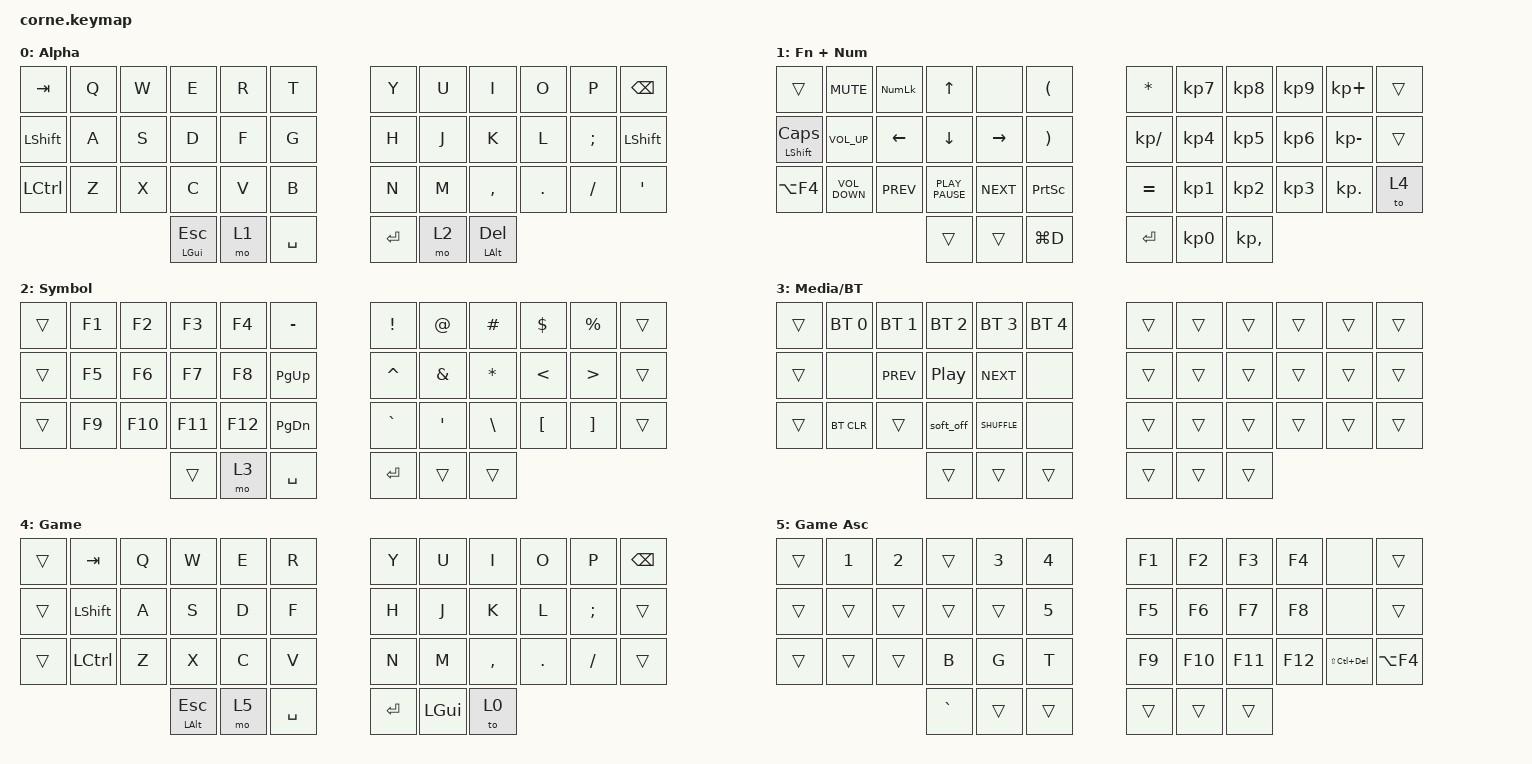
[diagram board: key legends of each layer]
/*
 * Copyright (c) 2020 The ZMK Contributors
 *
 * SPDX-License-Identifier: MIT
 */

#include <behaviors.dtsi>
#include <dt-bindings/zmk/bt.h>
#include <dt-bindings/zmk/keys.h>

&mt {
    tapping-term-ms = <180>;
    flavor = "hold-preferred";
};

&lt {
    tapping-term-ms = <220>;
    flavor = "tap-preferred";
    quick-tap-ms = <150>;
};

/ {
    keymap {
        compatible = "zmk,keymap";

        default_layer {
            // -----------------------------------------------------------------------------------------
            // |  TAB |  Q  |  W  |  E  |  R  |  T  |   |  Y  |  U   |  I  |  O  |  P  | BKSP |
            // | SHFT |  A  |  S  |  D  |  F  |  G  |   |  H  |  J   |  K  |  L  |  ;  | SHFT |
            // | CTRL |  Z  |  X  |  C  |  V  |  B  |   |  N  |  M   |  ,  |  .  |  /  | DEL  |
            //                    | ESC | LWR | SPC |   | ENT | RSE  | GUI |

            label = "Alpha";
            bindings = <
&kp TAB           &kp Q  &kp W  &kp E            &kp R  &kp T        &kp Y    &kp U  &kp I             &kp O    &kp P      &kp BACKSPACE
&kp LSHFT         &kp A  &kp S  &kp D            &kp F  &kp G        &kp H    &kp J  &kp K             &kp L    &kp SEMI   &kp LSHFT
&kp LEFT_CONTROL  &kp Z  &kp X  &kp C            &kp V  &kp B        &kp N    &kp M  &kp COMMA         &kp DOT  &kp SLASH  &kp SINGLE_QUOTE
                                &mt LGUI ESCAPE  &mo 1  &kp SPACE    &kp RET  &mo 2  &mt LEFT_ALT DEL
            >;
        };

        lower_layer {
            // -----------------------------------------------------------------------------------------
            // |  TAB |  1  |  2  |  3  |  4  |  5  |   |  6  |  7  |  8  |  9  |  0  | BKSP |
            // | BTCLR| BT1 | BT2 | BT3 | BT4 | BT5 |   | LFT | DWN |  UP | RGT |     |      |
            // | SHFT |     |     |     |     |     |   |     |     |     |     |     |      |
            //                    | GUI |     | SPC |   | ENT |     | ALT |

            label = "Fn + Num";
            bindings = <
&trans          &kp K_MUTE         &kp KP_NUMLOCK  &kp UP_ARROW      &none       &kp LEFT_PARENTHESIS     &kp ASTERISK   &kp KP_NUMBER_7  &kp KP_NUMBER_8  &kp KP_NUMBER_9  &kp KP_PLUS      &trans
&mt LSHFT CAPS  &kp K_VOLUME_UP    &kp LEFT        &kp DOWN          &kp RIGHT   &kp RIGHT_PARENTHESIS    &kp KP_DIVIDE  &kp KP_NUMBER_4  &kp KP_NUMBER_5  &kp KP_NUMBER_6  &kp KP_SUBTRACT  &trans
&kp LA(F4)      &kp K_VOLUME_DOWN  &kp K_PREV      &kp K_PLAY_PAUSE  &kp K_NEXT  &kp PRINTSCREEN          &kp EQUAL      &kp KP_NUMBER_1  &kp KP_NUMBER_2  &kp KP_NUMBER_3  &kp KP_DOT       &to 4
                                                   &trans            &trans      &kp LG(D)                &kp RET        &kp KP_NUMBER_0  &kp KP_COMMA
            >;
        };

        raise_layer {
            // -----------------------------------------------------------------------------------------
            // |  TAB |  !  |  @  |  #  |  $  |  %  |   |  ^  |  &  |  *  |  (  |  )  | BKSP |
            // | CTRL |     |     |     |     |     |   |  -  |  =  |  [  |  ]  |  \  |  `   |
            // | SHFT |     |     |     |     |     |   |  _  |  +  |  {  |  }  | "|" |  ~   |
            //                    | GUI |     | SPC |   | ENT |     | ALT |

            label = "Symbol";
            bindings = <
&trans  &kp F1  &kp F2   &kp F3   &kp F4   &kp MINUS        &kp EXCL   &kp AT         &kp HASH       &kp DOLLAR        &kp PERCENT        &trans
&trans  &kp F5  &kp F6   &kp F7   &kp F8   &kp PAGE_UP      &kp CARET  &kp AMPERSAND  &kp ASTRK      &kp LESS_THAN     &kp GREATER_THAN   &trans
&trans  &kp F9  &kp F10  &kp F11  &kp F12  &kp PAGE_DOWN    &kp GRAVE  &kp APOS       &kp BACKSLASH  &kp LEFT_BRACKET  &kp RIGHT_BRACKET  &trans
                         &trans   &mo 3    &kp SPACE        &kp RET    &trans         &trans
            >;
        };

        media_bt {
            label = "Media/BT";
            bindings = <
&trans  &bt BT_SEL 0  &bt BT_SEL 1  &bt BT_SEL 2      &bt BT_SEL 3   &bt BT_SEL 4    &trans  &trans  &trans  &trans  &trans  &trans
&trans  &none         &kp C_PREV    &kp C_PLAY_PAUSE  &kp C_NEXT     &none           &trans  &trans  &trans  &trans  &trans  &trans
&trans  &bt BT_CLR    &trans        &soft_off         &kp C_SHUFFLE  &none           &trans  &trans  &trans  &trans  &trans  &trans
                                    &trans            &trans         &trans          &trans  &trans  &trans
            >;
        };

        Game_0 {
            label = "Game";
            bindings = <
&trans  &kp TAB           &kp Q  &kp W                &kp E  &kp R        &kp Y      &kp U         &kp I      &kp O       &kp P          &kp BACKSPACE
&trans  &kp LEFT_SHIFT    &kp A  &kp S                &kp D  &kp F        &kp H      &kp J         &kp K      &kp L       &kp SEMICOLON  &trans
&trans  &kp LEFT_CONTROL  &kp Z  &kp X                &kp C  &kp V        &kp N      &kp M         &kp COMMA  &kp PERIOD  &kp SLASH      &trans
                                 &mt LEFT_ALT ESCAPE  &mo 5  &kp SPACE    &kp ENTER  &kp LEFT_GUI  &to 0
            >;
        };

        Game_1 {
            label = "Game Asc";
            bindings = <
&trans  &kp NUMBER_1  &kp NUMBER_2  &trans     &kp NUMBER_3  &kp NUMBER_4    &kp F1  &kp F2   &kp F3   &kp F4   &none            &trans
&trans  &trans        &trans        &trans     &trans        &kp NUMBER_5    &kp F5  &kp F6   &kp F7   &kp F8   &none            &trans
&trans  &trans        &trans        &kp B      &kp G         &kp T           &kp F9  &kp F10  &kp F11  &kp F12  &kp LS(LC(DEL))  &kp LA(F4)
                                    &kp GRAVE  &trans        &trans          &trans  &trans   &trans
            >;
        };
    };

    conditional_layers { compatible = "zmk,conditional-layers"; };
};
